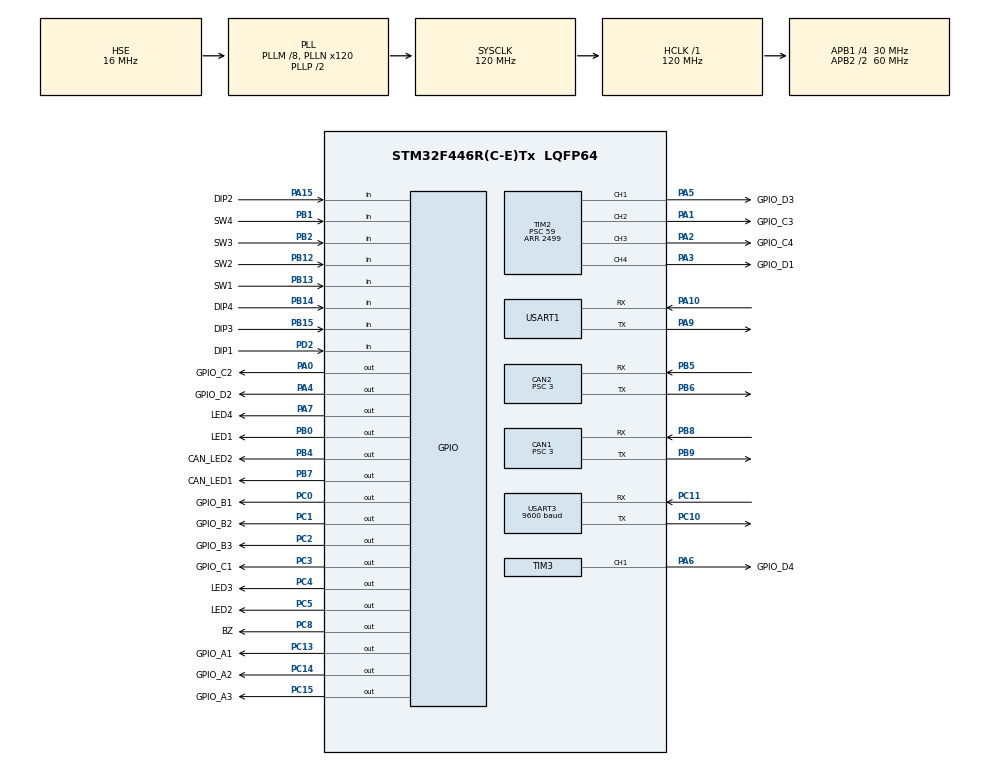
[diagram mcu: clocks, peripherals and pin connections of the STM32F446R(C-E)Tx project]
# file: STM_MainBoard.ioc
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CAN1.ABOM=ENABLE
CAN1.AWUM=DISABLE
CAN1.BS1=CAN_BS1_7TQ
CAN1.BS2=CAN_BS2_2TQ
CAN1.CalculateBaudRate=1000000
CAN1.CalculateTimeBit=1000
CAN1.CalculateTimeQuantum=100.0
CAN1.NART=ENABLE
CAN1.Prescaler=3
CAN1.TTCM=DISABLE
CAN2.ABOM=ENABLE
CAN2.BS1=CAN_BS1_7TQ
CAN2.BS2=CAN_BS2_2TQ
CAN2.CalculateBaudRate=1000000
CAN2.CalculateTimeBit=1000
CAN2.CalculateTimeQuantum=100.0
CAN2.NART=ENABLE
CAN2.Prescaler=3
Dma.Request0=USART1_RX
Dma.USART1_RX.0.Direction=DMA_PERIPH_TO_MEMORY
Dma.USART1_RX.0.FIFOMode=DMA_FIFOMODE_DISABLE
Dma.USART1_RX.0.Instance=DMA2_Stream2
Dma.USART1_RX.0.MemDataAlignment=DMA_MDATAALIGN_BYTE
Dma.USART1_RX.0.MemInc=DMA_MINC_ENABLE
Dma.USART1_RX.0.Mode=DMA_CIRCULAR
Dma.USART1_RX.0.PeriphDataAlignment=DMA_PDATAALIGN_BYTE
Dma.USART1_RX.0.PeriphInc=DMA_PINC_DISABLE
Dma.USART1_RX.0.Priority=DMA_PRIORITY_LOW
Mcu.Family=STM32F4
Mcu.Name=STM32F446R(C-E)Tx
Mcu.Package=LQFP64
NVIC.CAN1_RX0_IRQn=true\:0\:0\:false\:false\:true\:true\:true\:true
NVIC.CAN2_RX1_IRQn=true\:0\:0\:false\:false\:true\:true\:true\:true
NVIC.DMA2_Stream2_IRQn=true\:0\:0\:false\:false\:true\:false\:true\:true
NVIC.PriorityGroup=NVIC_PRIORITYGROUP_4
NVIC.TIM5_IRQn=true\:0\:0\:false\:false\:true\:true\:true\:true
NVIC.USART1_IRQn=true\:0\:0\:false\:false\:true\:true\:true\:true
PA0-WKUP.GPIO_Label=GPIO_C2
PA0-WKUP.Signal=GPIO_Output
PA1.GPIO_Label=GPIO_C3
PA1.Signal=S_TIM2_CH2
PA10.Mode=Asynchronous
PA10.Signal=USART1_RX
PA11.Signal=USB_OTG_FS_DM
PA12.Signal=USB_OTG_FS_DP
PA15.GPIO_Label=DIP2
PA15.GPIO_PuPd=GPIO_PULLUP
PA15.Signal=GPIO_Input
PA2.GPIO_Label=GPIO_C4
PA2.Signal=S_TIM2_CH3
PA3.GPIO_Label=GPIO_D1
PA3.Signal=S_TIM2_CH4
PA4.GPIO_Label=GPIO_D2
PA4.Signal=GPIO_Output
PA5.GPIO_Label=GPIO_D3
PA5.Signal=S_TIM2_CH1_ETR
PA6.GPIO_Label=GPIO_D4
PA6.Signal=S_TIM3_CH1
PA7.GPIO_Label=LED4
PA7.Signal=GPIO_Output
PA8.Signal=I2C3_SCL
PA9.Mode=Asynchronous
PA9.Signal=USART1_TX
PB0.GPIO_Label=LED1
PB0.Signal=GPIO_Output
PB1.GPIO_Label=SW4
PB1.GPIO_PuPd=GPIO_PULLUP
PB1.Signal=GPIO_Input
PB10.Signal=I2C2_SCL
PB12.GPIO_Label=SW2
PB12.GPIO_PuPd=GPIO_PULLUP
PB12.Signal=GPIO_Input
PB13.GPIO_Label=SW1
PB13.GPIO_PuPd=GPIO_PULLUP
PB13.Signal=GPIO_Input
PB14.GPIO_Label=DIP4
PB14.GPIO_PuPd=GPIO_PULLUP
PB14.Signal=GPIO_Input
PB15.GPIO_Label=DIP3
PB15.GPIO_PuPd=GPIO_PULLUP
PB15.Signal=GPIO_Input
PB2.GPIO_Label=SW3
PB2.GPIO_PuPd=GPIO_PULLUP
PB2.Signal=GPIO_Input
PB4.GPIO_Label=CAN_LED2
PB4.Signal=GPIO_Output
PB5.Mode=CAN_Activate
PB5.Signal=CAN2_RX
PB6.Mode=CAN_Activate
PB6.Signal=CAN2_TX
PB7.GPIO_Label=CAN_LED1
PB7.Signal=GPIO_Output
PB8.Mode=CAN_Activate
PB8.Signal=CAN1_RX
PB9.Mode=CAN_Activate
PB9.Signal=CAN1_TX
PC0.GPIO_Label=GPIO_B1
PC0.Signal=GPIO_Output
PC1.GPIO_Label=GPIO_B2
PC1.Signal=GPIO_Output
PC10.Mode=Asynchronous
PC10.Signal=USART3_TX
PC11.Mode=Asynchronous
PC11.Signal=USART3_RX
PC12.Signal=I2C2_SDA
PC13.GPIO_Label=GPIO_A1
PC13.Signal=GPIO_Output
PC14-OSC32_IN.GPIO_Label=GPIO_A2
PC14-OSC32_IN.Signal=GPIO_Output
PC15-OSC32_OUT.GPIO_Label=GPIO_A3
PC15-OSC32_OUT.Signal=GPIO_Output
PC2.GPIO_Label=GPIO_B3
PC2.Signal=GPIO_Output
PC3.GPIO_Label=GPIO_C1
PC3.Signal=GPIO_Output
PC4.GPIO_Label=LED3
PC4.Signal=GPIO_Output
PC5.GPIO_Label=LED2
PC5.Signal=GPIO_Output
PC6.Signal=USART6_TX
PC7.Signal=USART6_RX
PC8.GPIO_Label=BZ
PC8.Signal=GPIO_Output
PC9.Signal=I2C3_SDA
PD2.GPIO_Label=DIP1
PD2.GPIO_PuPd=GPIO_PULLUP
PD2.Signal=GPIO_Input
PH0-OSC_IN.Mode=HSE-External-Oscillator
PH0-OSC_IN.Signal=RCC_OSC_IN
PH1-OSC_OUT.Mode=HSE-External-Oscillator
PH1-OSC_OUT.Signal=RCC_OSC_OUT
ProjectManager.HeapSize=0x200
ProjectManager.StackSize=0x400
ProjectManager.TargetToolchain=CMake
RCC.AHBFreq_Value=120000000
RCC.APB1CLKDivider=RCC_HCLK_DIV4
RCC.APB1Freq_Value=30000000
RCC.APB1TimFreq_Value=60000000
RCC.APB2CLKDivider=RCC_HCLK_DIV2
RCC.APB2Freq_Value=60000000
RCC.APB2TimFreq_Value=120000000
RCC.CortexFreq_Value=120000000
RCC.HCLKFreq_Value=120000000
RCC.HSE_VALUE=16000000
RCC.PLLM=8
RCC.PLLN=120
RCC.PLLSourceVirtual=RCC_PLLSOURCE_HSE
RCC.SYSCLKFreq_VALUE=120000000
RCC.SYSCLKSource=RCC_SYSCLKSOURCE_PLLCLK
RCC.USBFreq_Value=120000000
RCC.VCOOutputFreq_Value=240000000
SH.S_TIM2_CH1_ETR.0=TIM2_CH1,PWM Generation1 CH1
SH.S_TIM2_CH2.0=TIM2_CH2,PWM Generation2 CH2
SH.S_TIM2_CH3.0=TIM2_CH3,PWM Generation3 CH3
SH.S_TIM2_CH4.0=TIM2_CH4,PWM Generation4 CH4
SH.S_TIM3_CH1.0=TIM3_CH1,PWM Generation1 CH1
TIM2.Channel-PWM\ Generation1\ CH1=TIM_CHANNEL_1
TIM2.Channel-PWM\ Generation2\ CH2=TIM_CHANNEL_2
TIM2.Channel-PWM\ Generation3\ CH3=TIM_CHANNEL_3
TIM2.Channel-PWM\ Generation4\ CH4=TIM_CHANNEL_4
TIM2.Period=2499
TIM2.Prescaler=59
TIM3.Channel-PWM\ Generation1\ CH1=TIM_CHANNEL_1
TIM3.Period=2499
TIM3.Prescaler=59
TIM5.Period=200
TIM5.Prescaler=59999
USART1.VirtualMode=VM_ASYNC
USART3.BaudRate=9600
USART3.VirtualMode=VM_ASYNC
VP_TIM2_VS_ClockSourceINT.Mode=Internal
VP_TIM3_VS_ClockSourceINT.Mode=Internal
VP_TIM5_VS_ClockSourceINT.Mode=Internal
board=custom

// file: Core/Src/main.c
/* USER CODE BEGIN Header */
/**
	******************************************************************************
	* @file           : main.c
	* @brief          : Main program body
	******************************************************************************
	* @attention
	*
	* Copyright (c) 2025 STMicroelectronics.
	* All rights reserved.
	*
	* This software is licensed under terms that can be found in the LICENSE file
	* in the root directory of this software component.
	* If no LICENSE file comes with this software, it is provided AS-IS.
	*
	******************************************************************************
	*/
/* USER CODE END Header */
#include "main.h"
#include "can.h"
#include "dma.h"
#include "tim.h"
#include "usart.h"
#include "gpio.h"

/* USER CODE BEGIN Includes */
#include "stdio.h"
#include "stdlib.h"
#include "stdbool.h"
#include <stdarg.h>
#include <stdint.h>
#include <string.h>

#include "imrc_ecan.h"
#include "imrc_LD_220MG.h"
#include "imrc_RU_control.h"
#include "imrc_MCU_control.h"
#include "canCtrlConv.h"  //imrc
#include "imrc_PCU_control.h"
#include "stm32f4xx_hal.h"
#include "stm32f4xx_hal_gpio.h"
#include "imrc_connect_monitor.h"
#include "imrc_main.h"

/* USER CODE END Includes */

/* USER CODE BEGIN PV */
#define ENABLED_PRINTF 1

#if ENABLED_PRINTF
#define DEBUG_PRINTF(...) printf(__VA_ARGS__)
#else
#define DEBUG_PRINTF(...) ((void)0) // 何もしない
#endif

/* USER CODE END PV */

void SystemClock_Config(void);

/* USER CODE BEGIN 0 */
int __io_putchar(int ch){ // printfを使えるようにする関数
	HAL_UART_Transmit(&huart3, (uint8_t *)&ch, 1, 100);
	return ch;
}

static uint32_t Rx1_unit_code,Rx1_unit_id;
static CAN_RxHeaderTypeDef RxHeader1;
static uint8_t RxData1[8];
static uint32_t id1;
uint32_t Rx1_index = 0;
uint32_t Rx1_entry = 0;
static uint32_t Rx2_unit_code,Rx2_unit_id;
static CAN_RxHeaderTypeDef RxHeader2;
static uint8_t RxData2[8];
static uint32_t id2;
uint32_t Rx2_index = 0;
uint32_t Rx2_entry = 0;

void HAL_CAN_RxFifo0MsgPendingCallback(CAN_HandleTypeDef *hcan){   //CAN割り込み
	if (HAL_CAN_GetRxMessage(hcan, CAN_RX_FIFO0, &RxHeader1, RxData1) == HAL_OK){
		id1 = (RxHeader1.IDE == CAN_ID_STD)? RxHeader1.StdId : RxHeader1.ExtId;
		ecan_addrConvertToCodeId(id1, &Rx1_unit_code, &Rx1_unit_id, 0);  //unit_code,unit_id 判定
		ecan_headerConvertToIdxEntry(RxData1[0], &Rx1_index, &Rx1_entry);

    if(Rx1_unit_code==18 && Rx1_unit_id==1){ //PCU
      conn_rx(1 ,HAL_GetTick());

		}else if(Rx1_unit_code==16 && Rx1_unit_id==1){ //MCU1
      conn_rx(2 ,HAL_GetTick());

		}else if(Rx1_unit_code==16 && Rx1_unit_id==2){ //MCU2
      conn_rx(3 ,HAL_GetTick());

		}else if(Rx1_unit_code==20 && Rx1_unit_id==1){ //LCU
      conn_rx(4 ,HAL_GetTick());

	  }

  }
}

void HAL_CAN_RxFifo1MsgPendingCallback(CAN_HandleTypeDef *hcan){
	if (HAL_CAN_GetRxMessage(hcan, CAN_RX_FIFO1, &RxHeader2, RxData2) == HAL_OK){
		id2 = (RxHeader2.IDE == CAN_ID_STD)? RxHeader2.StdId : RxHeader2.ExtId;
		ecan_addrConvertToCodeId(id2, &Rx2_unit_code, &Rx2_unit_id, 0);  //unit_code,unit_id 判定
		ecan_headerConvertToIdxEntry(RxData2[0], &Rx2_index, &Rx2_entry);

		}
	}

//生存信号
void HAL_TIM_PeriodElapsedCallback(TIM_HandleTypeDef *htim){//タイマー割り込み　生存信号
	if (htim->Instance == TIM5){
        ecan_sendEmptyPacketMtoU(&hcan2, 18, 1, 0, 5);
    }
}

//UART割り込み
#define RX_BUFFER_SIZE 64
uint8_t UART_PC_RAWdata;
uint8_t UART_PC_data[RX_BUFFER_SIZE];
uint8_t rx_index = 0;
uint8_t PC_UART_complete = 0;
uint8_t PC_uart_started = 0;

void HAL_UART_RxCpltCallback(UART_HandleTypeDef *huart){
  if (huart->Instance == USART1) {//PC
    if (!PC_uart_started) {
      if (UART_PC_RAWdata == '#') {//#だったら開始
        PC_uart_started = 1;
        rx_index = 0;
        //rx_buffer[rx_index++] = rx_data; // # も格納
      }

    } else {
      if (UART_PC_RAWdata == '\r' || UART_PC_RAWdata == '\n') {
        UART_PC_data[rx_index] = '\0';
        PC_UART_complete = 1;
        PC_uart_started = 0; // 次回まで待機
        rx_index = 0;
      } else {
        if (rx_index < RX_BUFFER_SIZE - 1) {
          UART_PC_data[rx_index++] = UART_PC_RAWdata;
        } else {
          // バッファオーバーフロー時リセット
          rx_index = 0;
          PC_uart_started = 0;
          PC_UART_complete = 0;
        }
      }
    }

    HAL_UART_Receive_IT(&huart1, &UART_PC_RAWdata, 1);
  }
}

/* USER CODE END Private */
/* USER CODE END 0 */

int main(void)
{

  /* USER CODE BEGIN 1 */

	setbuf(stdout, NULL);
  /* USER CODE END 1 */

  /* MCU Configuration--------------------------------------------------------*/

  /* Reset of all peripherals, Initializes the Flash interface and the Systick. */
  HAL_Init();

  /* Configure the system clock */
  SystemClock_Config();

  /* Initialize all configured peripherals */
  MX_GPIO_Init();
  MX_DMA_Init();
  MX_CAN1_Init();
  MX_CAN2_Init();
  MX_USART3_UART_Init();
  MX_TIM2_Init();
  MX_TIM3_Init();
  MX_TIM5_Init();
  MX_USART1_UART_Init();
  /* USER CODE BEGIN 2 */

	//CAN Setting
	ecan_init(1, 1); //MainBoard

	ecan_setAllPassFilter_advance(&hcan1, CAN_FILTER_FIFO0, 0, 14);
	ecan_start_advance(&hcan1, CAN_IT_RX_FIFO0_MSG_PENDING);

	ecan_setAllPassFilter_advance(&hcan2, CAN_FILTER_FIFO1, 14, 14);
  ecan_start_advance(&hcan2, CAN_IT_RX_FIFO1_MSG_PENDING);

	//PWM
	// HAL_TIM_PWM_Start(&htim2, TIM_CHANNEL_1); //未使用
	// HAL_TIM_PWM_Start(&htim2, TIM_CHANNEL_2); //未使用
	// HAL_TIM_PWM_Start(&htim2, TIM_CHANNEL_3); //未使用
	HAL_TIM_PWM_Start(&htim2, TIM_CHANNEL_4);
	HAL_TIM_PWM_Start(&htim2, TIM_CHANNEL_1);
	HAL_TIM_PWM_Start(&htim3, TIM_CHANNEL_1);
	HAL_TIM_Base_Start_IT(&htim5); // TIM5 割り込みスタート

	HAL_UART_Receive_IT(&huart1, &UART_PC_RAWdata, 1);

  unit_t units[] = {
    { "PCU"   , 1, 0, 0, 1000 },
    { "MCU1"  , 2, 0, 0, 1000 },
    { "MCU2"  , 3, 0, 0, 1000 },
    { "LCU"   , 4, 0, 0, 1000 },
  };
  conn_init(units, 4, 1);
  HAL_Delay(1000); //ユニット検出
  conn_update(HAL_GetTick());
  conn_state();

  HAL_GPIO_WritePin(BZ_GPIO_Port, BZ_Pin, 1);
  HAL_Delay(100); //ユニット検出
  HAL_GPIO_WritePin(BZ_GPIO_Port, BZ_Pin, 0);

	printf("Start!!\n\r");

  /* USER CODE END 2 */

  /* Infinite loop */
  /* USER CODE BEGIN WHILE */
  while (1){
    if (PC_UART_complete){

      pc_uart pc_data;
      parse_csv_to_struct(UART_PC_data, &pc_data);

      //debug
      /*
      DEBUG_PRINTF("moduleName: %s, topiNacme: %s, dataLen: %d     ",pc_data.module_name,pc_data.topic_name,pc_data.data_len);
      for(int i=0;i<pc_data.data_len;i++){
        DEBUG_PRINTF("[%f]",pc_data.data[i]);
      }
      DEBUG_PRINTF("\n\r");
      */

      if(*pc_data.module_name == 'M'){
        if(strcmp(pc_data.topic_name, "cmd_vel") == 0){
          uint8_t sent_data[] = {clampTo255(pc_data.data[0]),clampTo255(pc_data.data[1]),clampTo255(pc_data.data[2] /1.7)};
          //DEBUG_PRINTF("%d",clampTo255(pc_data.data[0]));
          ecan_sendPacketMtoU(&hcan1, 16, 1, 3, 0, 3, sent_data);
        }

      }else if(*pc_data.module_name == 'L'){
        if(strcmp(pc_data.topic_name, "led_cmd") == 0){
          uint8_t sent_data[] = {pc_data.data[0], pc_data.data[1], pc_data.data[2], pc_data.data[3], pc_data.data[4], pc_data.data[5]};
          //sent_data = {LED_number, mode, r, g, b, period}
          ecan_sendPacketMtoU(&hcan1, 20, 1, 3, 0, pc_data.data_len, sent_data);

        }

      }

      PC_UART_complete = 0;
    }

    conn_update(HAL_GetTick());
    conn_chack();

    /* USER CODE END WHILE */

  }
}

void SystemClock_Config(void)
{
  RCC_OscInitTypeDef RCC_OscInitStruct = {0};
  RCC_ClkInitTypeDef RCC_ClkInitStruct = {0};

  /** Configure the main internal regulator output voltage
  */
  __HAL_RCC_PWR_CLK_ENABLE();
  __HAL_PWR_VOLTAGESCALING_CONFIG(PWR_REGULATOR_VOLTAGE_SCALE3);

  /** Initializes the RCC Oscillators according to the specified parameters
  * in the RCC_OscInitTypeDef structure.
  */
  RCC_OscInitStruct.OscillatorType = RCC_OSCILLATORTYPE_HSE;
  RCC_OscInitStruct.HSEState = RCC_HSE_ON;
  RCC_OscInitStruct.PLL.PLLState = RCC_PLL_ON;
  RCC_OscInitStruct.PLL.PLLSource = RCC_PLLSOURCE_HSE;
  RCC_OscInitStruct.PLL.PLLM = 8;
  RCC_OscInitStruct.PLL.PLLN = 120;
  RCC_OscInitStruct.PLL.PLLP = RCC_PLLP_DIV2;
  RCC_OscInitStruct.PLL.PLLQ = 2;
  RCC_OscInitStruct.PLL.PLLR = 2;
  if (HAL_RCC_OscConfig(&RCC_OscInitStruct) != HAL_OK)
  {
    Error_Handler();
  }

  /** Initializes the CPU, AHB and APB buses clocks
  */
  RCC_ClkInitStruct.ClockType = RCC_CLOCKTYPE_HCLK|RCC_CLOCKTYPE_SYSCLK
                              |RCC_CLOCKTYPE_PCLK1|RCC_CLOCKTYPE_PCLK2;
  RCC_ClkInitStruct.SYSCLKSource = RCC_SYSCLKSOURCE_PLLCLK;
  RCC_ClkInitStruct.AHBCLKDivider = RCC_SYSCLK_DIV1;
  RCC_ClkInitStruct.APB1CLKDivider = RCC_HCLK_DIV4;
  RCC_ClkInitStruct.APB2CLKDivider = RCC_HCLK_DIV2;

  if (HAL_RCC_ClockConfig(&RCC_ClkInitStruct, FLASH_LATENCY_3) != HAL_OK)
  {
    Error_Handler();
  }
}

/* USER CODE BEGIN 4 */

/*その他*/
void ALL_LED_OFF(void){//全LED消灯
	HAL_GPIO_WritePin(LED1_GPIO_Port,LED1_Pin,GPIO_PIN_RESET);
	HAL_GPIO_WritePin(LED2_GPIO_Port,LED2_Pin,GPIO_PIN_RESET);
	HAL_GPIO_WritePin(LED3_GPIO_Port,LED3_Pin,GPIO_PIN_RESET);
	HAL_GPIO_WritePin(LED4_GPIO_Port,LED4_Pin,GPIO_PIN_RESET);
	HAL_GPIO_WritePin(CAN_LED1_GPIO_Port,CAN_LED1_Pin,GPIO_PIN_RESET);
	HAL_GPIO_WritePin(CAN_LED2_GPIO_Port,CAN_LED2_Pin,GPIO_PIN_RESET);
}

void Buzzer_toggle(uint32_t interval_time){
    static uint32_t last_tick = 0;
    static uint8_t buzzer_state = 0; // 0: OFF, 1: ON

    uint32_t now = HAL_GetTick();

    if (now - last_tick >= interval_time) {
        last_tick = now;
        buzzer_state = !buzzer_state;

        if (buzzer_state) {
            HAL_GPIO_WritePin(BZ_GPIO_Port, BZ_Pin, GPIO_PIN_SET); // ON
        } else {
            HAL_GPIO_WritePin(BZ_GPIO_Port, BZ_Pin, GPIO_PIN_RESET); // OFF
        }
    }
}

//ライブラリに入れたいなーーー
#define MAX_BUTTONS 16
static uint32_t lastPressTime[MAX_BUTTONS] = {0};
bool getBtnMultiState(const int *buttons, uint8_t numButtons, uint32_t threshold){
	uint32_t now = HAL_GetTick();
	uint32_t minTime = 0xFFFFFFFF;
	uint32_t maxTime = 0;
	uint8_t pressedCount = 0;

	// すべての対象ボタンについて処理
	for (uint8_t i = 0; i < numButtons; i++) {
		uint8_t btn = buttons[i];

		if (getBtnState(btn)) {
			// ボタンが押されていたら時刻を更新
			if (lastPressTime[btn] == 0) {
				lastPressTime[btn] = now;
			}

			// 最小と最大の押下時刻を記録
			if (lastPressTime[btn] < minTime) minTime = lastPressTime[btn];
			if (lastPressTime[btn] > maxTime) maxTime = lastPressTime[btn];

			pressedCount++;
		} else {
			// 離されていたら時刻リセット
			lastPressTime[btn] = 0;
		}
	}

	// 全部押されていて、かつ押下時刻の差が threshold 以内なら同時押し
	if (pressedCount == numButtons && (maxTime - minTime) <= threshold) {
		return 1;
	}

	return 0;
}

/* USER CODE END 4 */

void Error_Handler(void)
{
  /* USER CODE BEGIN Error_Handler_Debug */
	/* User can add his own implementation to report the HAL error return state */
	MCU_move(Stop, 0, 0,0);
	PCU_voltage_cutoff();
	__disable_irq();
	while (1)
	{
		printf("Error\n\r");
		HAL_GPIO_WritePin(BZ_GPIO_Port,BZ_Pin,1);
	}
  /* USER CODE END Error_Handler_Debug */
}
#ifdef USE_FULL_ASSERT
/**
  * @brief  Reports the name of the source file and the source line number
  *         where the assert_param error has occurred.
  * @param  file: pointer to the source file name
  * @param  line: assert_param error line source number
  * @retval None
  */
void assert_failed(uint8_t *file, uint32_t line)
{
  /* USER CODE BEGIN 6 */
	/* User can add his own implementation to report the file name and line number,
		 ex: DEBUG_PRINTF("Wrong parameters value: file %s on line %d\r\n", file, line) */
  /* USER CODE END 6 */
}
#endif /* USE_FULL_ASSERT */
